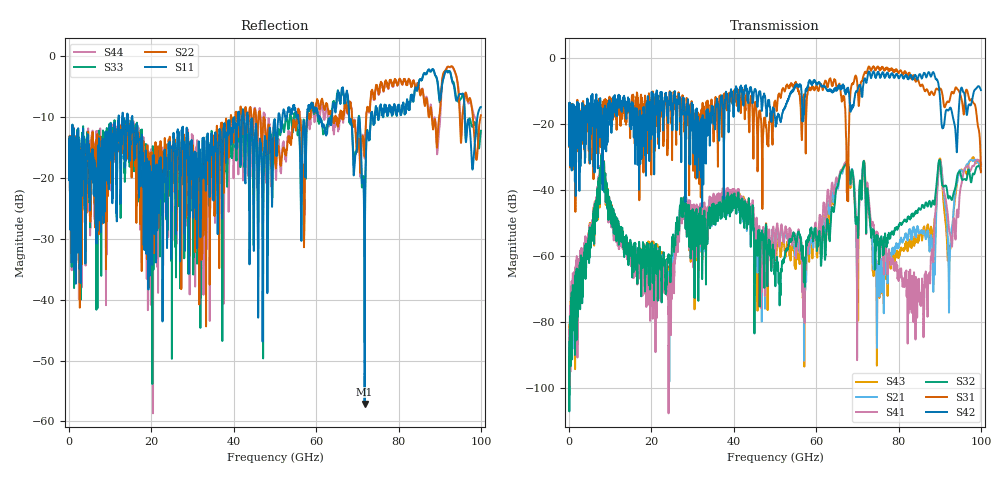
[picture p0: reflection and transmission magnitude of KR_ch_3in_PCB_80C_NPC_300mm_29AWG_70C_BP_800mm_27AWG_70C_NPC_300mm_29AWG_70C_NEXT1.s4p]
# GHz S RI R 45
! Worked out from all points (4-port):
!   4000 points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, 25 MHz to 100 GHz, reference 45 ohm
!   strongest paths, dB at 25 MHz, 25.02 GHz, 50.02 GHz, 75.03 GHz, 100 GHz:
!     S42: -20.0, -17.9, -18.0, -4.4, -9.7
!     S31: -20.0, -30.9, -13.0, -2.6, -34.6
!     S32: -90.5, -54.8, -64.1, -56.8, -34.2
!     S41: -89.5, -64.0, -60.8, -55.6, -31.9
!     S21: -90.7, -59.6, -58.7, -67.5, -32.8
!     S43: -92.2, -59.5, -57.3, -67.4, -32.2
!   lowest |S11| = -57.1 dB at 71.78 GHz (marker M1), VSWR 1.00, Z = 45.1 + j0.079 ohm
!   |S11| at or under -10 dB: start of sweep to 12.06 GHz; 15.35 GHz to 40.12 GHz (24.76 GHz wide, 89.3 % of centre); 43.48 GHz to 50.81 GHz (7.328 GHz wide, 15.5 % of centre)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
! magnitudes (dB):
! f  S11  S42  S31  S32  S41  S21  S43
! 25 MHz  -16.0  -20.0  -20.0  -90.5  -89.5  -90.7  -92.2
! 8.025 GHz  -17.3  -24.5  -19.2  -31.6  -31.3  -32.0  -30.9
! 24.3 GHz  -16.4  -14.2  -13.7  -61.0  -74.2  -75.2  -69.4
! 71.78 GHz  -57.1  -6.3  -4.4  -33.5  -33.0  -33.6  -33.0
! 75.17 GHz  -10.0  -4.4  -3.1  -57.2  -55.9  -61.6  -61.8
! 85.75 GHz  -3.7  -6.0  -8.0  -44.6  -67.4  -53.1  -54.9
! 100 GHz  -8.3  -9.7  -34.6  -34.2  -31.9  -32.8  -32.2
